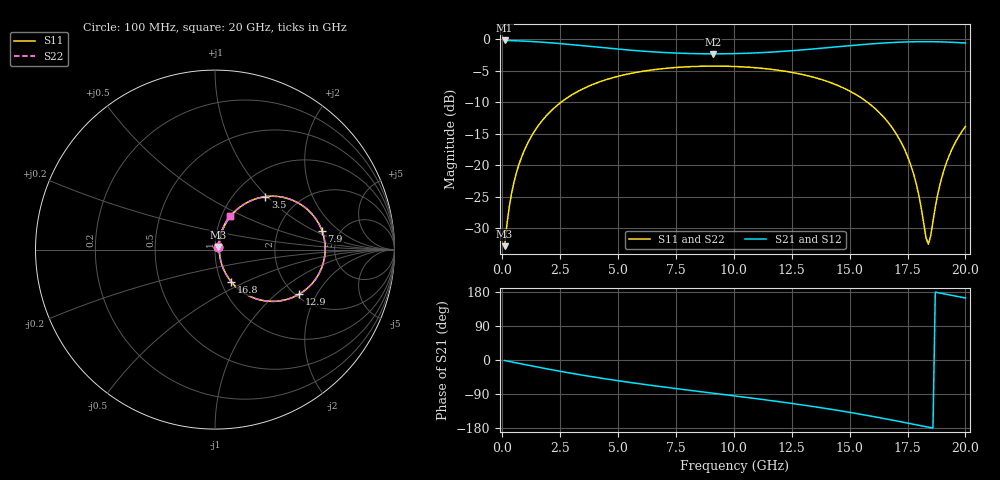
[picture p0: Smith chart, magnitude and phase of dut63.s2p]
! Touchstone file exported from HFSS 2026.1.0
!  File:  C:/ffzhzh/LocalFiles/Ansys_Project_Files/temp_train_TSV_RDL_63_1782968467_45568.aedt
!  Generated:  01:14:04 PM Jul  2, 2026
!  Design:  TSV_RDL
!  Project:  temp_train_TSV_RDL_63_1782968467_45568
! Variables:
!  h_bsmrdl = 2.42um
!  h_ox = 20um
!  h_rdl = 5um
!  h_sub = 86.04um
!  h_tmrdl = 3.7um
!  h_tsv = 86.04um
!  h_via = 3um
!  l_bsmrdl = 304.51um
!  l_sub = 3163.58um
!  l_tmrdl = 433.18um
!  m_sub = 200um
!  pitch = 57.61um
!  r_tsv = 6.52um
!  s_tmrdl = 10um
!  w_bsmrdl = 19.19um
!  w_sub = 500um
!  w_tmrdl = 19.92um
!  x_tsv_center1 = 443.14um
!  x_tsv_center2 = 766.84um
!  x_tsv_center3 = 1219.94um
!  x_tsv_center4 = 1543.64um
!  x_tsv_center5 = 1996.74um
!  x_tsv_center6 = 2320.44um
# GHz S MA R 50.000000
! Terminal data exported
! Port[1] = TM_RDL1_1_T1
! Port[2] = TM_RDL5_1_T1
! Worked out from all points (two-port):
!   200 points, 100 MHz to 20 GHz, reference 50 ohm
!   highest |S21| = -0.15 dB at 100 MHz (marker M1); lowest = -2.3 dB at 9.1 GHz (marker M2)
!   |S21| within 3 dB of the highest: start of sweep to end of sweep
!   lowest |S11| = -32.9 dB at 100 MHz (marker M3), VSWR 1.05, Z = 51.8 + j1.46 ohm
!   |S11| at or under -10 dB: start of sweep to 2.533 GHz; 15.77 GHz to end of sweep
!   |S22| runs from -32.9 to -4.2 dB; largest |S21 - S12| = 1.7e-14
!   S11 on the Smith chart (normalised r, x): 100 MHz: 1.04, +0.03; 3.5 GHz: 1.38, +0.97; 7.9 GHz: 3.65, +1.20; 12.9 GHz: 2.08, -1.44; 16.8 GHz: 1.12, -0.42; 20 GHz: 1.09, +0.42
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0.1  0.02266 38.3  0.9824 -1.3  0.9824 -1.3  0.02266 38.3
! Gamma 0 0 0 0
! Port Impedance 50 0 50 0
0.3  0.0465 62.9  0.9807 -3.8  0.9807 -3.8  0.0465 62.9
0.5  0.07264 68.2  0.9781 -6.3  0.9781 -6.3  0.07264 68.2
1.1  0.15 68.4  0.9677 -13.6  0.9677 -13.6  0.15 68.4
2.1  0.2698 60.0  0.9411 -25.3  0.9411 -25.3  0.2698 60.0
3.5  0.4066 46.5  0.8913 -40.4  0.8913 -40.4  0.4066 46.5
6.8  0.5826 18.2  0.7913 -69.9  0.7913 -69.9  0.5826 18.2
7.9  0.6054 9.9  0.775 -78.5  0.775 -78.5  0.6054 9.9
9.1  0.6141 1.1  0.7686 -87.7  0.7686 -87.7  0.6141 1.1
10.1  0.609 -6.3  0.7724 -95.3  0.7724 -95.3  0.609 -6.3
12.9  0.5294 -28.1  0.8249 -118.1  0.8249 -118.1  0.5294 -28.1
13.4  0.5032 -32.3  0.8398 -122.5  0.8398 -122.5  0.5032 -32.3
15.3  0.3621 -49.6  0.9028 -141.3  0.9028 -141.3  0.3621 -49.6
16.7  0.2147 -62.3  0.9429 -156.9  0.9429 -156.9  0.2147 -62.4
16.8  0.203 -63.1  0.9451 -158.1  0.9451 -158.1  0.203 -63.1
17.7  0.0929 -65.6  0.9589 -168.8  0.9589 -168.8  0.09289 -65.6
18  0.05628 -59.1  0.9608 -172.5  0.9608 -172.5  0.05626 -59.2
18.3  0.02642 -24.6  0.9613 -176.1  0.9613 -176.1  0.02635 -24.7
18.4  0.0235 3.8  0.9611 -177.3  0.9611 -177.3  0.02342 3.7
18.8  0.0579 62.8  0.9588 177.8  0.9588 177.8  0.05785 62.9
19.1  0.09441 68.8  0.9555 174.2  0.9555 174.2  0.09437 68.8
20  0.2033 66.2  0.9378 163.6  0.9378 163.6  0.2033 66.2
